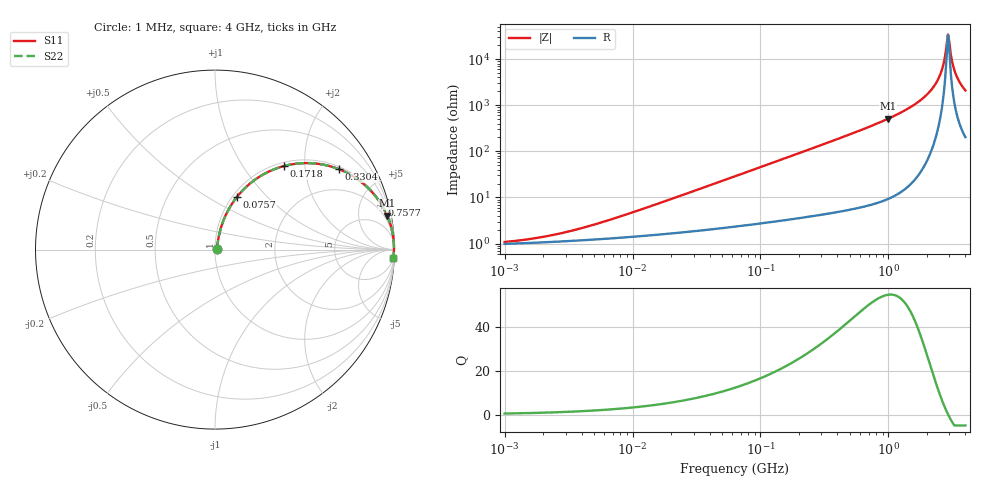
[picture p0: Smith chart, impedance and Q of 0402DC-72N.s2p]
# MHz  S  MA  R  50
!Freq  MagS11  AngS11  MagS21  AngS21  MagS12  AngS12  MagS22  AngS22
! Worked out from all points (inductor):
!   801 points, 1 MHz to 4 GHz, reference 50 ohm
!   read as one part in series: L = 72 nH near 9.116 MHz
!   highest Q = 55 at 992.3 MHz (marker M1), where L = 81.3 nH
!   self-resonance near 2.919 GHz
!   S11 on the Smith chart (normalised r, x): 1 MHz: 1.02, +0.01; 75.7 MHz: 1.05, +0.69; 171.8 MHz: 1.07, +1.56; 330.4 MHz: 1.09, +3.03; 757.7 MHz: 1.14, +7.35; 4 GHz: 5, -42
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1  0.01069 24.5  0.9903 -0.3  0.9903 -0.3  0.01069 24.5
2.004092  0.0138 40.0  0.9895 -0.5  0.9895 -0.5  0.0138 40.0
4.016383  0.02138 56.1  0.9882 -1.0  0.9882 -1.0  0.02138 56.1
15.96482  0.07257 73.8  0.9822 -4.1  0.9822 -4.1  0.07257 73.8
63.45894  0.2711 69.7  0.9409 -15.7  0.9409 -15.7  0.2711 69.7
75.70051  0.318 67.4  0.9255 -18.5  0.9255 -18.5  0.318 67.4
171.8269  0.603 50.5  0.7724 -37.0  0.7724 -37.0  0.603 50.5
252.2445  0.7423 40.2  0.6453 -47.9  0.6453 -47.9  0.7423 40.2
330.3572  0.8236 32.9  0.5438 -55.4  0.5438 -55.4  0.8236 32.9
757.6739  0.9602 15.1  0.2614 -73.7  0.2614 -73.7  0.9602 15.1
992.3031  0.9777 11.1  0.1928 -77.8  0.1928 -77.8  0.9777 11.1
1013.11  0.9788 10.8  0.188 -78.1  0.188 -78.1  0.9788 10.8
1615.985  0.9933 5.4  0.09454 -83.2  0.09454 -83.2  0.9933 5.4
2183.323  0.9968 2.6  0.04493 -84.6  0.04493 -84.6  0.9968 2.6
2577.613  0.9973 1.1  0.0195 -81.6  0.0195 -81.6  0.9973 1.1
2714.869  0.9973 0.7  0.0118 -76.5  0.0118 -76.5  0.9973 0.7
2859.434  0.9972 0.2  0.004627 -52.7  0.004627 -52.7  0.9972 0.2
2919.392  0.9971 0.0  0.002918 -11.3  0.002918 -11.3  0.9971 0.0
3011.696  0.997 -0.2  0.005072 53.8  0.005072 53.8  0.997 -0.2
3172.067  0.9967 -0.7  0.01233 74.3  0.01233 74.3  0.9967 -0.7
3375.823  0.9963 -1.2  0.02159 79.4  0.02159 79.4  0.9963 -1.2
4000  0.9943 -2.7  0.04756 81.7  0.04756 81.7  0.9943 -2.7
